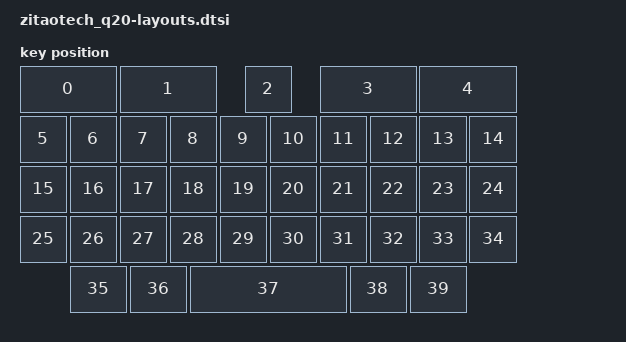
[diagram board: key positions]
#include <physical_layouts.dtsi>
#include <dt-bindings/zmk/matrix_transform.h>

/ {
    zitaotech_q20_layout: zitaotech_q20_layout {
        compatible = "zmk,physical-layout";
        display-name = "ZitaoTech_q20";

        kscan = <&kscan0>;
        transform = <&default_transform>;

        /*
         * Geometry taken verbatim from the Q20 layout JSON (100 units = 1U):
         *   row 0      : 2U keys at x = 0, 2, 6, 8; centered 1U touchpad at x = 4.5,
         *                matching Q10/BBP9981 without the two shoulder keys.
         *   rows 1..3  : 10 keys of 1U at x = 0..9
         *   row 4      : 1.2U @ 1.0, 1.2U @ 2.2, 3.2U @ 3.4, 1.2U @ 6.6, 1.2U @ 7.8
         * It used to carry rounded thumb-row positions (2.25 / 3.5 / 6.5 / 7.75)
         * and a whole-board +1U y offset, which made Studio draw the thumb row
         * slightly off; the values below match the JSON exactly.
         */
        keys  //                     w   h    x    y     rot    rx    ry
            = <&key_physical_attrs 200 100    0    0       0     0     0>
            , <&key_physical_attrs 200 100  200    0       0     0     0>
            , <&key_physical_attrs 100 100  450    0       0     0     0>
            , <&key_physical_attrs 200 100  600    0       0     0     0>
            , <&key_physical_attrs 200 100  800    0       0     0     0>
            , <&key_physical_attrs 100 100    0  100       0     0     0>
            , <&key_physical_attrs 100 100  100  100       0     0     0>
            , <&key_physical_attrs 100 100  200  100       0     0     0>
            , <&key_physical_attrs 100 100  300  100       0     0     0>
            , <&key_physical_attrs 100 100  400  100       0     0     0>
            , <&key_physical_attrs 100 100  500  100       0     0     0>
            , <&key_physical_attrs 100 100  600  100       0     0     0>
            , <&key_physical_attrs 100 100  700  100       0     0     0>
            , <&key_physical_attrs 100 100  800  100       0     0     0>
            , <&key_physical_attrs 100 100  900  100       0     0     0>
            , <&key_physical_attrs 100 100    0  200       0     0     0>
            , <&key_physical_attrs 100 100  100  200       0     0     0>
            , <&key_physical_attrs 100 100  200  200       0     0     0>
            , <&key_physical_attrs 100 100  300  200       0     0     0>
            , <&key_physical_attrs 100 100  400  200       0     0     0>
            , <&key_physical_attrs 100 100  500  200       0     0     0>
            , <&key_physical_attrs 100 100  600  200       0     0     0>
            , <&key_physical_attrs 100 100  700  200       0     0     0>
            , <&key_physical_attrs 100 100  800  200       0     0     0>
            , <&key_physical_attrs 100 100  900  200       0     0     0>
            , <&key_physical_attrs 100 100    0  300       0     0     0>
            , <&key_physical_attrs 100 100  100  300       0     0     0>
            , <&key_physical_attrs 100 100  200  300       0     0     0>
            , <&key_physical_attrs 100 100  300  300       0     0     0>
            , <&key_physical_attrs 100 100  400  300       0     0     0>
            , <&key_physical_attrs 100 100  500  300       0     0     0>
            , <&key_physical_attrs 100 100  600  300       0     0     0>
            , <&key_physical_attrs 100 100  700  300       0     0     0>
            , <&key_physical_attrs 100 100  800  300       0     0     0>
            , <&key_physical_attrs 100 100  900  300       0     0     0>
            , <&key_physical_attrs 120 100  100  400       0     0     0>
            , <&key_physical_attrs 120 100  220  400       0     0     0>
            , <&key_physical_attrs 320 100  340  400       0     0     0>
            , <&key_physical_attrs 120 100  660  400       0     0     0>
            , <&key_physical_attrs 120 100  780  400       0     0     0>
            ;
    };
};
